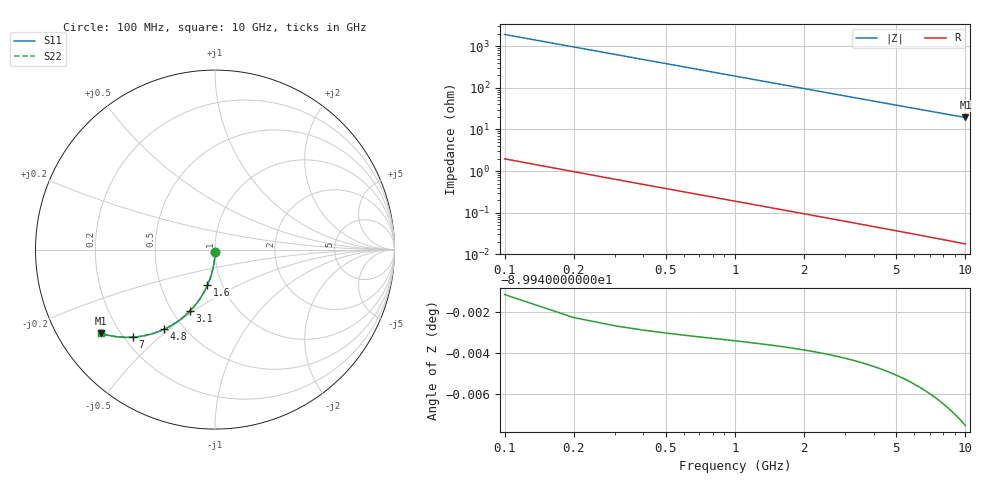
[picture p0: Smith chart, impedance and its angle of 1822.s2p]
# Hz S RI R 50.00
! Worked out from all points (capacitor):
!   100 points, 100 MHz to 10 GHz, reference 50 ohm
!   read as one part in shunt: C = 833 fF near 100 MHz
!   lowest |Z| = 19.4 ohm at 10 GHz (marker M1)
!   S11 on the Smith chart (normalised r, x): 100 MHz: 1.00, -0.03; 1.6 GHz: 0.85, -0.35; 3.1 GHz: 0.61, -0.48; 4.8 GHz: 0.39, -0.48; 7 GHz: 0.23, -0.41; 10 GHz: 0.13, -0.32
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1e8  -0.000124 -0.0129  0.9998 -0.0132  0.9998 -0.0132  -0.000124 -0.0129
2e8  -0.000649 -0.0259  0.9992 -0.0264  0.9992 -0.0264  -0.000649 -0.0259
3e8  -0.00151 -0.0388  0.9984 -0.0396  0.9984 -0.0396  -0.00151 -0.0388
4e8  -0.00272 -0.0516  0.9972 -0.0527  0.9972 -0.0527  -0.00272 -0.0516
5e8  -0.00426 -0.0644  0.9956 -0.0658  0.9956 -0.0658  -0.00426 -0.0644
6e8  -0.00613 -0.0771  0.9937 -0.0788  0.9937 -0.0788  -0.00613 -0.0771
7e8  -0.00834 -0.0898  0.9915 -0.0917  0.9915 -0.0917  -0.00834 -0.0898
9e8  -0.0137 -0.1148  0.9862 -0.1173  0.9862 -0.1173  -0.0137 -0.1148
1.2e9  -0.0241 -0.1515  0.9758 -0.1548  0.9758 -0.1548  -0.0241 -0.1515
1.6e9  -0.0421 -0.1982  0.9578 -0.2026  0.9578 -0.2026  -0.0421 -0.1982
1.8e9  -0.0526 -0.2205  0.9472 -0.2254  0.9472 -0.2254  -0.0526 -0.2205
2.4e9  -0.0899 -0.2823  0.91 -0.2889  0.91 -0.2889  -0.0899 -0.2823
3.1e9  -0.1414 -0.3438  0.8584 -0.3523  0.8584 -0.3523  -0.1414 -0.3438
3.4e9  -0.1654 -0.3664  0.8345 -0.3758  0.8345 -0.3758  -0.1654 -0.3664
4.1e9  -0.2237 -0.4106  0.7761 -0.422  0.7761 -0.422  -0.2237 -0.4106
4.8e9  -0.2832 -0.4434  0.7166 -0.4568  0.7166 -0.4568  -0.2832 -0.4434
5.1e9  -0.3085 -0.4543  0.6913 -0.4685  0.6913 -0.4685  -0.3085 -0.4543
5.9e9  -0.374 -0.4752  0.6258 -0.4916  0.6258 -0.4916  -0.374 -0.4752
6.7e9  -0.4353 -0.486  0.5644 -0.5047  0.5644 -0.5047  -0.4353 -0.486
7e9  -0.457 -0.4879  0.5426 -0.5074  0.5426 -0.5074  -0.457 -0.4879
8.4e9  -0.5484 -0.4854  0.4512 -0.5089  0.4512 -0.5089  -0.5484 -0.4854
1e10  -0.6331 -0.4673  0.3664 -0.4955  0.3664 -0.4955  -0.6331 -0.4673
